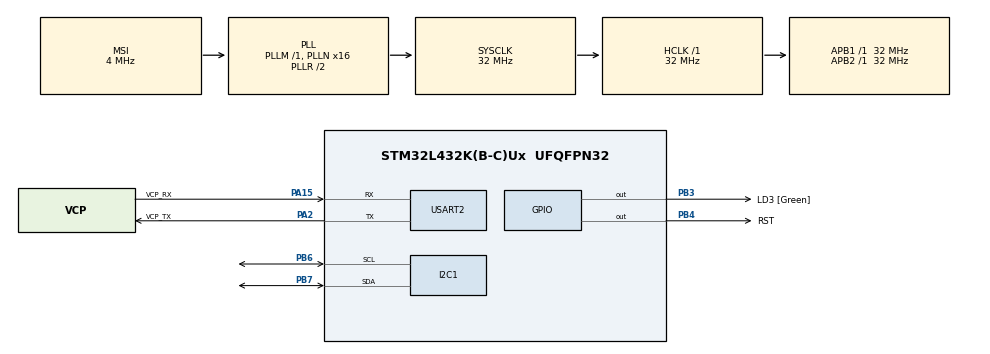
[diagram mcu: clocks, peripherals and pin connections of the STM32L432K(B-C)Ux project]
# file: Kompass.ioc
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I2C1.Timing=0x00B07CB4
Mcu.Family=STM32L4
Mcu.Name=STM32L432K(B-C)Ux
Mcu.Package=UFQFPN32
NVIC.I2C1_ER_IRQn=true\:0\:0\:false\:false\:true\:true\:true\:true
NVIC.I2C1_EV_IRQn=true\:0\:0\:false\:false\:true\:true\:true\:true
NVIC.PriorityGroup=NVIC_PRIORITYGROUP_4
PA0.GPIO_Label=MCO [High speed clock in]
PA0.Mode=HSE-External-Clock-Source-for-LittleOrca
PA0.Signal=RCC_CK_IN
PA13\ (JTMS-SWDIO).GPIO_Label=SWDIO
PA13\ (JTMS-SWDIO).Mode=Serial_Wire
PA13\ (JTMS-SWDIO).Signal=SYS_JTMS-SWDIO
PA14\ (JTCK-SWCLK).GPIO_Label=SWCLK
PA14\ (JTCK-SWCLK).Mode=Serial_Wire
PA14\ (JTCK-SWCLK).Signal=SYS_JTCK-SWCLK
PA15\ (JTDI).GPIO_Label=VCP_RX
PA15\ (JTDI).Mode=Asynchronous
PA15\ (JTDI).Signal=USART2_RX
PA2.GPIO_Label=VCP_TX
PA2.Mode=Asynchronous
PA2.Signal=USART2_TX
PB3\ (JTDO-TRACESWO).GPIO_Label=LD3 [Green]
PB3\ (JTDO-TRACESWO).Signal=GPIO_Output
PB4\ (NJTRST).GPIO_Label=RST
PB4\ (NJTRST).Signal=GPIO_Output
PB6.Mode=I2C
PB6.Signal=I2C1_SCL
PB7.Mode=I2C
PB7.Signal=I2C1_SDA
ProjectManager.HeapSize=0x200
ProjectManager.StackSize=0x400
ProjectManager.TargetToolchain=STM32CubeIDE
RCC.AHBFreq_Value=32000000
RCC.APB1Freq_Value=32000000
RCC.APB1TimFreq_Value=32000000
RCC.APB2Freq_Value=32000000
RCC.APB2TimFreq_Value=32000000
RCC.CortexFreq_Value=32000000
RCC.HCLKFreq_Value=32000000
RCC.HSE_VALUE=8000000
RCC.HSI16_VALUE=16000000
RCC.HSI48_VALUE=48000000
RCC.HSI_VALUE=16000000
RCC.LSE_VALUE=32768
RCC.MSI_VALUE=4000000
RCC.PLLMUL=RCC_PLLMUL_4
RCC.PLLN=16
RCC.SYSCLKFreq_VALUE=32000000
RCC.SYSCLKSource=RCC_SYSCLKSOURCE_PLLCLK
RCC.VCOOutputFreq_Value=64000000
USART2.VirtualMode-Asynchronous=VM_ASYNC
board=NUCLEO-L432KC

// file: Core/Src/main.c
/* USER CODE BEGIN Header */
/**
 ******************************************************************************
 * @file           : main.c
 * @brief          : Kompass 4 click Sensor
 * @autor		   : Julian Bauer
 ******************************************************************************
 * @attention
 *
 *
 *@Preperation to run the project:
 *Pin D8 (Reset Pin from the board) is not connected to the STM
 *Plase a Jumper on Pin D8 and D12
 *
 *@optional: use sunglasses, the led toggles because of Uart & RST Pin
 *
 * ©Bauer Julian
 * Copyright (c) 2024 STMicroelectronics.
 * All rights reserved.
 *
 * This software is licensed under terms that can be found in the LICENSE file
 * in the root directory of this software component.
 * If no LICENSE file comes with this software, it is provided AS-IS.
 *
 ******************************************************************************
 */
/* USER CODE END Header */
#include "main.h"
#include "i2c.h"
#include "usart.h"
#include "gpio.h"

/* USER CODE BEGIN Includes */
#include <stdio.h>
#include <math.h>
#include "printf.h"
/* USER CODE END Includes */

/* USER CODE BEGIN PTD */
#define ARRAY_SIZE(x) (sizeof(x) / sizeof((x)[0]))
#define OFFSET -240
/* USER CODE END PTD */

/* USER CODE BEGIN PV */
uint8_t addr = 0x0C; // 0x0C is the address of the compass 4 click
/* USER CODE END PV */

void SystemClock_Config(void);
/* USER CODE BEGIN PFP */
HAL_StatusTypeDef writeSingleI2cCommand(I2C_HandleTypeDef hi2c1, uint8_t sensorAdr, uint8_t regAdr, uint8_t command);
HAL_StatusTypeDef readSingleI2cCommand(I2C_HandleTypeDef hi2c1, uint8_t sensorAdr, uint8_t regAdr, uint8_t *received);
HAL_StatusTypeDef compass4clickInit();
HAL_StatusTypeDef heading(int16_t *deg);
/* USER CODE END PFP */

int main(void)
{

  /* MCU Configuration--------------------------------------------------------*/

  /* Reset of all peripherals, Initializes the Flash interface and the Systick. */
  HAL_Init();

  /* Configure the system clock */
  SystemClock_Config();

  /* Initialize all configured peripherals */
  MX_GPIO_Init();
  MX_USART2_UART_Init();
  MX_I2C1_Init();
  /* USER CODE BEGIN 2 */
    HAL_StatusTypeDef status = compass4clickInit();
    if (status != HAL_OK)
    {
        printf("Compass Init ERROR\n\r");
    }
  /* USER CODE END 2 */

  /* Infinite loop */
  /* USER CODE BEGIN WHILE */
    int16_t deg = 0;
    while (1)
    {
    /* USER CODE END WHILE */

    /* USER CODE BEGIN 3 */
        status = heading(&deg);

        printf("Heading: %d\n\r", deg);
        HAL_Delay(50);
    }
  /* USER CODE END 3 */
}

void SystemClock_Config(void)
{
  RCC_OscInitTypeDef RCC_OscInitStruct = {0};
  RCC_ClkInitTypeDef RCC_ClkInitStruct = {0};

  /** Configure the main internal regulator output voltage
  */
  if (HAL_PWREx_ControlVoltageScaling(PWR_REGULATOR_VOLTAGE_SCALE1) != HAL_OK)
  {
    Error_Handler();
  }

  /** Initializes the RCC Oscillators according to the specified parameters
  * in the RCC_OscInitTypeDef structure.
  */
  RCC_OscInitStruct.OscillatorType = RCC_OSCILLATORTYPE_MSI;
  RCC_OscInitStruct.MSIState = RCC_MSI_ON;
  RCC_OscInitStruct.MSICalibrationValue = 0;
  RCC_OscInitStruct.MSIClockRange = RCC_MSIRANGE_6;
  RCC_OscInitStruct.PLL.PLLState = RCC_PLL_ON;
  RCC_OscInitStruct.PLL.PLLSource = RCC_PLLSOURCE_MSI;
  RCC_OscInitStruct.PLL.PLLM = 1;
  RCC_OscInitStruct.PLL.PLLN = 16;
  RCC_OscInitStruct.PLL.PLLP = RCC_PLLP_DIV7;
  RCC_OscInitStruct.PLL.PLLQ = RCC_PLLQ_DIV2;
  RCC_OscInitStruct.PLL.PLLR = RCC_PLLR_DIV2;
  if (HAL_RCC_OscConfig(&RCC_OscInitStruct) != HAL_OK)
  {
    Error_Handler();
  }

  /** Initializes the CPU, AHB and APB buses clocks
  */
  RCC_ClkInitStruct.ClockType = RCC_CLOCKTYPE_HCLK|RCC_CLOCKTYPE_SYSCLK
                              |RCC_CLOCKTYPE_PCLK1|RCC_CLOCKTYPE_PCLK2;
  RCC_ClkInitStruct.SYSCLKSource = RCC_SYSCLKSOURCE_PLLCLK;
  RCC_ClkInitStruct.AHBCLKDivider = RCC_SYSCLK_DIV1;
  RCC_ClkInitStruct.APB1CLKDivider = RCC_HCLK_DIV1;
  RCC_ClkInitStruct.APB2CLKDivider = RCC_HCLK_DIV1;

  if (HAL_RCC_ClockConfig(&RCC_ClkInitStruct, FLASH_LATENCY_1) != HAL_OK)
  {
    Error_Handler();
  }
}

/* USER CODE BEGIN 4 */
/**
 * @brief function to initialize all the settings to work with the compass
 *
 * @return ** HAL_StatusTypeDef if !=HAL_OK there occurred an ERROR
 */
HAL_StatusTypeDef compass4clickInit()
{

    HAL_GPIO_WritePin(RST_GPIO_Port, RST_Pin, 1); 	// Resetpin needs to be high, use a jumper on D8 & D12

    uint8_t regAdr = 0x32;
    HAL_StatusTypeDef status = writeSingleI2cCommand(hi2c1, addr, regAdr, 0x0A); // softreset the sensor
    if (status != HAL_OK)
    {
        return status;
    }
    HAL_Delay(100);
    regAdr = 0x31;
    status = writeSingleI2cCommand(hi2c1, addr, regAdr, 0b01001010); // activate 200Hz continuous measurement and low noise drive
    if (status != HAL_OK)
    {
        return status;
    }
    HAL_Delay(10);
    regAdr = 0x30;
    status = writeSingleI2cCommand(hi2c1, addr, regAdr, 0b00101010); // enable noise supression and set watermark level to 10
    if (status != HAL_OK)
    {
        return status;
    }
    HAL_Delay(10);
    return status;
}

/**
 * @brief function to calculate the heading direction of the compass
 *
 * @param ret Heading direction in degrees
 * @return ** HAL_StatusTypeDef if !=HAL_OK there occurred an ERROR
 */
HAL_StatusTypeDef heading(int16_t *ret)
{
    int16_t deg = 0;	// Variable to hold converted data
    HAL_StatusTypeDef status;	//check errors
    uint8_t dry;   		// Data ready
    uint8_t raw;   		// Variable to read raw data
    int16_t X = 0; 		// Variable to hold raw data
    int16_t Y = 0; 		// Variable to hold raw data
    int16_t Z = 0; 		// Variable to hold raw data

    uint8_t regAdr = 0x10;
    status = readSingleI2cCommand(hi2c1, addr, regAdr, &dry); // read ST1
    if (status != HAL_OK)
    {
        printf("Read ST1 ERROR\n");
        return status;
    }

    if (dry > 0x00)	//when data is ready
    {

        regAdr = 0x12; // Register address for high X data
        status = readSingleI2cCommand(hi2c1, addr, regAdr, &raw);	//read reg
        if (status != HAL_OK)
        {
            return status;
        }

        X |= raw << 8;	//set the 8_high bits in front of the 16_bit data

        raw = 0;

        regAdr = 0x11; // Register address for low X data
        status = readSingleI2cCommand(hi2c1, addr, regAdr, &raw);
        if (status != HAL_OK)
        {
            return status;
        }
        X |= raw;	//add the low 8_bits to the 16_bits data

        raw = 0;

        regAdr = 0x14; // Register address for high Y data
        status = readSingleI2cCommand(hi2c1, addr, regAdr, &raw);
        if (status != HAL_OK)
        {
            return status;
        }
        Y |= raw << 8;
        raw = 0;

        regAdr = 0x13; // Register address for low Y data
        status = readSingleI2cCommand(hi2c1, addr, regAdr, &raw);
        if (status != HAL_OK)
        {
            return status;
        }
        Y |= raw;
        raw = 0;

        regAdr = 0x16; // Register address for high Z data
        status = readSingleI2cCommand(hi2c1, addr, regAdr, &raw);
        if (status != HAL_OK)
        {
            return status;
        }
        Z |= raw << 8;
        raw = 0;

        regAdr = 0x15; // Register address for low Z data
        status = readSingleI2cCommand(hi2c1, addr, regAdr, &raw);
        if (status != HAL_OK)
        {
            return status;
        }
        Z |= raw;
        raw = 0;

        status = readSingleI2cCommand(hi2c1, addr, 0x18, &raw);	//after reading reg 18 the sensor can measure new data
        if (status != HAL_OK)
        {
            return status;
        }

        if (raw & 0x08)
        {
            printf("Magnetic sensor overflow\n");
            status = HAL_ERROR;
            return status;
        }
        raw = 0;

        X = X ^ 0xffff;								//create 2 complement data
        X = X + 0x0001;

        Y = Y ^ 0xffff;
        Y = Y + 0x0001;

        Z = Z ^ 0xffff;
        Z = Z + 0x0001;

        X = X * 0.15;								//calculate Tesla
        Y = Y * 0.15;
        Z = Z * 0.15;
        deg = (atan2(Y, X) - 0.1) * 180 / 3.1415;	//convert magnetic data to degree
        if (deg < 0)
            deg += 360;
        if (deg > 360)
            deg -= 360;
    }

    X = 0;		//Reset
    Y = 0;
    Z = 0;

    deg = (deg + OFFSET) % 360;
        if (deg < 0) {
            deg += 360;
        }

    *ret = deg;
    return status;
}

/**
 * @brief this function will read 8bit from a sensor register
 *
 * @param hi2c1 	i2C handler
 * @param sensorAdr Adress of the sensor which is spoken to
 * @param regAdr 	Adress of the Register we want to read
 * @param received  Data from the register
 * @return ** HAL_StatusTypeDef if !=HAL_OK there occurred an ERROR
 */
HAL_StatusTypeDef readSingleI2cCommand(I2C_HandleTypeDef hi2c1, uint8_t sensorAdr, uint8_t regAdr, uint8_t *received)
{
    HAL_StatusTypeDef ret;
    uint8_t rawSensVal[1] = {0x00};
    uint8_t readAddress = (sensorAdr << 1) | 0x01; // R-Bit set to 1

    ret = HAL_I2C_Mem_Read(&hi2c1, readAddress, regAdr, sizeof(regAdr), rawSensVal, sizeof(rawSensVal), 1000);
    *received = rawSensVal[0];

    return ret;
}

/**
 * @brief This function will write a 8bit command in the sensor register
 *
 * @param hi2c1 	i2C handler
 * @param sensorAdr Address of the sensor which is spoken to
 * @param regAdr 	Address of the Register we want to talk
 * @param command 	Command we want to send
 * @return ** HAL_StatusTypeDef 	if !=HAL_OK there occurred an ERROR
 */
HAL_StatusTypeDef writeSingleI2cCommand(I2C_HandleTypeDef hi2c1, uint8_t sensorAdr, uint8_t regAdr, uint8_t command)
{
    HAL_StatusTypeDef ret;

    uint8_t writeAddress = (sensorAdr << 1); // R/W-Bit set to 0

    uint8_t txBuf[3];

    txBuf[0] = regAdr;
    txBuf[1] = command;
    txBuf[2] = command;

    ret = HAL_I2C_Master_Transmit(&hi2c1, writeAddress, txBuf, ARRAY_SIZE(txBuf), HAL_MAX_DELAY);

    return ret;
}
/* USER CODE END 4 */

void Error_Handler(void)
{
    __disable_irq();
    while (1)
    {
    }
}
